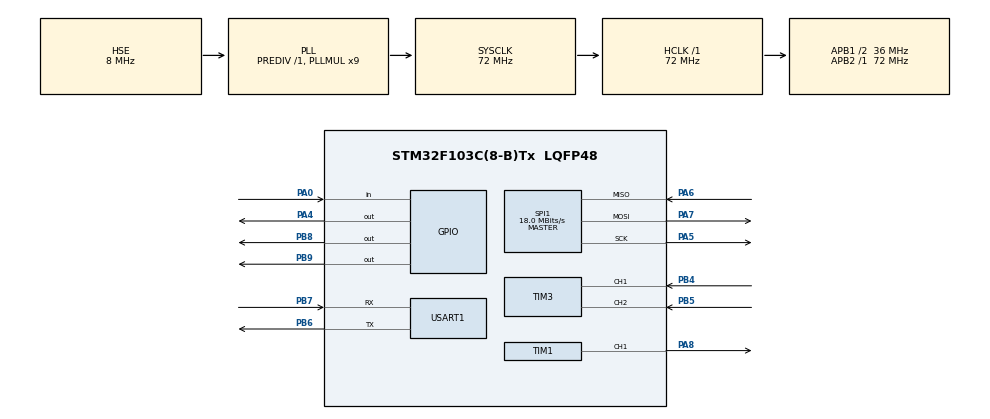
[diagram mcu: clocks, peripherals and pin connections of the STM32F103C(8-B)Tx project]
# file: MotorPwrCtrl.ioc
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Dma.Request0=USART1_RX
Dma.USART1_RX.0.Direction=DMA_PERIPH_TO_MEMORY
Dma.USART1_RX.0.Instance=DMA1_Channel5
Dma.USART1_RX.0.MemDataAlignment=DMA_MDATAALIGN_BYTE
Dma.USART1_RX.0.MemInc=DMA_MINC_ENABLE
Dma.USART1_RX.0.Mode=DMA_CIRCULAR
Dma.USART1_RX.0.PeriphDataAlignment=DMA_PDATAALIGN_BYTE
Dma.USART1_RX.0.PeriphInc=DMA_PINC_DISABLE
Dma.USART1_RX.0.Priority=DMA_PRIORITY_LOW
Mcu.Family=STM32F1
Mcu.Name=STM32F103C(8-B)Tx
Mcu.Package=LQFP48
NVIC.DMA1_Channel5_IRQn=true\:5\:0\:true\:false\:true\:false\:true\:true
NVIC.PriorityGroup=NVIC_PRIORITYGROUP_4
NVIC.USART1_IRQn=true\:5\:0\:true\:false\:true\:true\:true\:true
PA0-WKUP.GPIO_PuPd=GPIO_PULLUP
PA0-WKUP.Signal=GPIO_Input
PA13.Mode=Serial_Wire
PA13.Signal=SYS_JTMS-SWDIO
PA14.Mode=Serial_Wire
PA14.Signal=SYS_JTCK-SWCLK
PA4.Signal=GPIO_Output
PA5.Mode=Full_Duplex_Master
PA5.Signal=SPI1_SCK
PA6.Mode=Full_Duplex_Master
PA6.Signal=SPI1_MISO
PA7.Mode=Full_Duplex_Master
PA7.Signal=SPI1_MOSI
PA8.Signal=S_TIM1_CH1
PB4.Signal=S_TIM3_CH1
PB5.Signal=S_TIM3_CH2
PB6.Mode=Asynchronous
PB6.Signal=USART1_TX
PB7.Mode=Asynchronous
PB7.Signal=USART1_RX
PB8.GPIO_ModeDefaultOutputPP=GPIO_MODE_OUTPUT_OD
PB8.GPIO_PuPd=GPIO_PULLUP
PB8.Signal=GPIO_Output
PB9.GPIO_ModeDefaultOutputPP=GPIO_MODE_OUTPUT_OD
PB9.GPIO_PuPd=GPIO_PULLUP
PB9.Signal=GPIO_Output
PD0-OSC_IN.Mode=HSE-External-Oscillator
PD0-OSC_IN.Signal=RCC_OSC_IN
PD1-OSC_OUT.Mode=HSE-External-Oscillator
PD1-OSC_OUT.Signal=RCC_OSC_OUT
ProjectManager.HeapSize=0x200
ProjectManager.StackSize=0x400
ProjectManager.TargetToolchain=MDK-ARM V5.32
RCC.AHBFreq_Value=72000000
RCC.APB1CLKDivider=RCC_HCLK_DIV2
RCC.APB1Freq_Value=36000000
RCC.APB1TimFreq_Value=72000000
RCC.APB2Freq_Value=72000000
RCC.APB2TimFreq_Value=72000000
RCC.HCLKFreq_Value=72000000
RCC.PLLMUL=RCC_PLL_MUL9
RCC.PLLSourceVirtual=RCC_PLLSOURCE_HSE
RCC.SYSCLKFreq_VALUE=72000000
RCC.SYSCLKSource=RCC_SYSCLKSOURCE_PLLCLK
RCC.USBFreq_Value=72000000
SH.S_TIM1_CH1.0=TIM1_CH1,PWM Generation1 CH1
SH.S_TIM3_CH1.0=TIM3_CH1,Encoder_Interface
SH.S_TIM3_CH2.0=TIM3_CH2,Encoder_Interface
SPI1.BaudRatePrescaler=SPI_BAUDRATEPRESCALER_4
SPI1.CalculateBaudRate=18.0 MBits/s
SPI1.Direction=SPI_DIRECTION_2LINES
SPI1.Mode=SPI_MODE_MASTER
SPI1.VirtualType=VM_MASTER
TIM1.Channel-PWM\ Generation1\ CH1=TIM_CHANNEL_1
TIM1.Period=3599
TIM1.TIM_MasterSlaveMode=TIM_MASTERSLAVEMODE_DISABLE
TIM3.EncoderMode=TIM_ENCODERMODE_TI12
USART1.VirtualMode=VM_ASYNC
VP_TIM1_VS_ClockSourceINT.Mode=Internal
board=custom

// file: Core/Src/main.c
/* USER CODE BEGIN Header */
/**
  ******************************************************************************
  * @file           : main.c
  * @brief          : Main program body
  ******************************************************************************
  * @attention
  *
  * Copyright (c) 2026 STMicroelectronics.
  * All rights reserved.
  *
  * This software is licensed under terms that can be found in the LICENSE file
  * in the root directory of this software component.
  * If no LICENSE file comes with this software, it is provided AS-IS.
  *
  ******************************************************************************
  */
/* USER CODE END Header */
#include "main.h"

/* USER CODE BEGIN Includes */
#include "FreeRTOS.h"
#include "task.h"
#include "queue.h"
#include "semphr.h"

#include "INA226.h"
#include "w25q64.h"

#include "soft_i2c.h"

#include <stdarg.h>
#include <stdio.h>
#include <string.h>
#include <stdlib.h>

/* USER CODE END Includes */

/* USER CODE BEGIN PD */
/* ------TASK PD ----------*/
#define START_TASK_PRIO  0
#define START_STK_SIZE   128

#define MOTOR_TASK_PRIO  3
#define MOTOR_STK_SIZE   256

#define TX_TASK_PRIO  2
#define TX_STK_SIZE   256

#define INA226_TASK_PRIO  2
#define INA226_STK_SIZE   128

#define RX_TASK_PRIO  2
#define RX_STK_SIZE   128

#define FLASH_TASK_PRIO  2
#define FLASH_STK_SIZE   128

#define BUTTON_TASK_PRIO  3
#define BUTTON_STK_SIZE   128

#define PPR 11.0
#define COUNTS_PER_REV  PPR*4.0

#define MAX_VOLTAGE 13.0
#define MAX_CURRENT 1.5

#define PWM_MAX 3599.0f
#define PWM_MIN 0.0f

#define I_MAX 100.0f

#define ADDR_PARAMS  0x000000   // params at sector 0
#define ADDR_FAULT   0x001000   // fault at sector 1

/* USER CODE END PD */

SPI_HandleTypeDef hspi1;

TIM_HandleTypeDef htim1;
TIM_HandleTypeDef htim3;

UART_HandleTypeDef huart1;
DMA_HandleTypeDef hdma_usart1_rx;

/* USER CODE BEGIN PV */
/* TASK Variables ------------------------------------------------------------*/
TaskHandle_t StartTask_Handler;
TaskHandle_t MotorTask_Handler;
TaskHandle_t TxTask_Handler;
TaskHandle_t INA226Task_Handler;
TaskHandle_t RxTask_Handler;
TaskHandle_t FlashTask_Handler;
TaskHandle_t ButtonTask_Handler;

SemaphoreHandle_t BinarySemaphore;

typedef enum { STOP=0, RUN=1, FAULT=2 } MotorState_t;

QueueHandle_t g_UserSpeedQueue;
QueueHandle_t g_INA226Queue;
QueueHandle_t g_FlashQueue;
QueueHandle_t g_StateParQueue;
QueueHandle_t g_FaultQueue;

typedef struct { float voltage; float current; } InaData_t;//v i
typedef struct { float speed; float target; float kp; float ki; float kd; float voltage; float current; float mv; float mc; MotorState_t state; float duty; } Telemetry_t; //state2user
typedef struct { float speed; MotorState_t state; float duty; } FlashData_t;
typedef struct {  MotorState_t state; } FaultState_t; //state2user
typedef struct {
    float Kp;          // proportional gain
    float Ki;          // integral gain
    float Kd;          // derivative gain
    float integral;    // accumulated error (for I term)
    float prev_measured;  // last measured value (for D term)
} PID_t;

typedef union {
    float    f;
    uint8_t  b[4];
} FloatBytes_t;

// serial command: speed target or PID gain
typedef enum { CMD_SPEED, CMD_KP, CMD_KI, CMD_KD, CMD_MV, CMD_MC } CmdType_t;
typedef struct { CmdType_t type; float value; } Cmd_t;

uint8_t  rx_buf[64];            // DMA writes received bytes here
volatile uint16_t rx_len = 0;   // bytes in the latest frame

/* USER CODE END PV */

void SystemClock_Config(void);
static void MX_GPIO_Init(void);
static void MX_DMA_Init(void);
static void MX_SPI1_Init(void);
static void MX_TIM1_Init(void);
static void MX_TIM3_Init(void);
static void MX_USART1_UART_Init(void);
/* USER CODE BEGIN PFP */
/* Task function prototypes --------------------------------------------------*/
void start_task(void *pvParameters);
void motor_task(void *pvParameters);
void tx_task(void *pvParameters);
void ina226_task(void *pvParameters);
void rx_task(void *pvParameters);
void flash_task(void *pvParameters);
void button_task(void *pvParameters);

// Compute control output (duty) from target and measured speed.
float pid_update(PID_t *pid, float target, float measured, float dt);
/* USER CODE END PFP */

/* USER CODE BEGIN 0 */
float pid_update(PID_t *pid, float target, float measured, float dt)
{
    float error = target - measured;

    // I term: accumulate error, then anti-windup clamp
    pid->integral += error * dt;
    if (pid->integral > I_MAX)  pid->integral = I_MAX;
    if (pid->integral < -I_MAX) pid->integral = -I_MAX;

    // D term: derivative on measurement (avoids derivative kick on setpoint change)
    float derivative = -(measured - pid->prev_measured) / dt;

    // P + I + D
    float output = pid->Kp * error + pid->Ki * pid->integral + pid->Kd * derivative;
    pid->prev_measured = measured;   // update AFTER using the old value

    // clamp output to [0, 3599]
    if (output > PWM_MAX) output = PWM_MAX;
    if (output < PWM_MIN) output = PWM_MIN;
    return output;
}

void start_task(void *pvParameters)
{
    taskENTER_CRITICAL();

    // create queues
    g_UserSpeedQueue = xQueueCreate(4, sizeof(Cmd_t));
    g_INA226Queue    = xQueueCreate(2, sizeof(InaData_t));
    g_FlashQueue     = xQueueCreate(2, sizeof(FlashData_t));
    g_StateParQueue  = xQueueCreate(2, sizeof(Telemetry_t));
    g_FaultQueue     = xQueueCreate(2, sizeof(FaultState_t));

    BinarySemaphore = xSemaphoreCreateBinary();

    // create tasks
    xTaskCreate(motor_task,  "motor_task",  MOTOR_STK_SIZE,  NULL, MOTOR_TASK_PRIO,  &MotorTask_Handler);
    xTaskCreate(button_task, "button_task", BUTTON_STK_SIZE, NULL, BUTTON_TASK_PRIO, &ButtonTask_Handler);
    xTaskCreate(tx_task,     "tx_task",     TX_STK_SIZE,     NULL, TX_TASK_PRIO,     &TxTask_Handler);
    xTaskCreate(ina226_task, "ina226_task", INA226_STK_SIZE, NULL, INA226_TASK_PRIO, &INA226Task_Handler);
    xTaskCreate(rx_task,     "rx_task",     RX_STK_SIZE,     NULL, RX_TASK_PRIO,     &RxTask_Handler);
    xTaskCreate(flash_task,  "flash_task",  FLASH_STK_SIZE,  NULL, FLASH_TASK_PRIO,  &FlashTask_Handler);

    taskEXIT_CRITICAL();
    vTaskDelete(NULL);
}

static void UART_Printf(const char *format,...)
{
	char tmp[128];
	va_list argptr;
	va_start(argptr,format);
	vsnprintf(tmp, sizeof(tmp), format, argptr);   // safe: never overflow
	va_end(argptr);
	HAL_UART_Transmit(&huart1,(const uint8_t *)&tmp,strlen(tmp),HAL_MAX_DELAY);
}

void HAL_UARTEx_RxEventCallback(UART_HandleTypeDef *huart, uint16_t Size)
{
    if (huart == &huart1)
    {
        rx_len = Size;                                     // remember how many bytes
        BaseType_t xHigherPriorityTaskWoken = pdFALSE;
        vTaskNotifyGiveFromISR(RxTask_Handler, &xHigherPriorityTaskWoken);  // notify rx_task
        portYIELD_FROM_ISR(xHigherPriorityTaskWoken);
    }
}

void motor_task(void *pvParameters)
{
    // State machine: STOP -> RUN -> FAULT -> STOP

    TickType_t lastWakeTime = xTaskGetTickCount();  // for precise 100 Hz

    MotorState_t state = STOP;
    float TargetRPM = 0.0f, duty = 0.0f;
    float max_voltage = MAX_VOLTAGE;   // fault threshold, runtime adjustable
    float max_current = MAX_CURRENT;   // fault threshold, runtime adjustable

    HAL_TIM_Encoder_Start(&htim3, TIM_CHANNEL_ALL);
    HAL_TIM_PWM_Start(&htim1, TIM_CHANNEL_1);
    __HAL_TIM_MOE_ENABLE(&htim1);

    uint16_t pre_count = __HAL_TIM_GET_COUNTER(&htim3);
    uint16_t fault_flag = 0;
    uint16_t telemetry_cnt = 0;   // throttle telemetry to ~10 Hz
    InaData_t lastIna = {0};   // latest INA226 reading, for telemetry
    PID_t pid = {0};
    pid.Kp = 2.0f, pid.Ki = 5.0f, pid.Kd = 0.0f;

    for (;;)
    {
        vTaskDelayUntil(&lastWakeTime, pdMS_TO_TICKS(10));  // 100 Hz control loop
        BaseType_t val = pdFALSE;

        FlashData_t FlashData;
        InaData_t INA226Data;
        Telemetry_t StateParData;
        FaultState_t FaultData;

        uint16_t cur_count = __HAL_TIM_GET_COUNTER(&htim3);
        int32_t delta = (int32_t)(int16_t)(cur_count - pre_count);
        pre_count = cur_count;
        float CurRPM = (float)delta * 60.0f / (COUNTS_PER_REV * 0.01f);

        // receive command from rx_task (non-blocking): speed target or PID gain
        Cmd_t cmd;
        if (xQueueReceive(g_UserSpeedQueue, &cmd, 0) == pdTRUE)
        {
            switch (cmd.type)
            {
            case CMD_SPEED:
                if (cmd.value >= 0.0f && cmd.value <= 2000.0f)   // safety: reject invalid targets
                {
                    TargetRPM = cmd.value;
                }
                break;
            case CMD_KP:  pid.Kp = cmd.value; break;
            case CMD_KI:  pid.Ki = cmd.value; break;
            case CMD_KD:  pid.Kd = cmd.value; break;
            case CMD_MV:  max_voltage = cmd.value; break;
            case CMD_MC:  max_current = cmd.value; break;
            }
        }

        switch (state)
        {
        case STOP:
            // force motor stop
            duty = 0;
            __HAL_TIM_SET_COMPARE(&htim1, TIM_CHANNEL_1, 0);

            // receive restored default speed from flash_task
            if (xQueueReceive(g_FlashQueue, &FlashData, 0) == pdTRUE)
            {
                TargetRPM = FlashData.speed;
            }
            // receive button semaphore -> if pressed, state = RUN
            if (BinarySemaphore != NULL)
            {
                val = xSemaphoreTake(BinarySemaphore, 0);
                if (val == pdTRUE)
                {
                    state = RUN;
                }
            }
            break;

        case RUN:
            // receive voltage/current from ina226_task -> fault check
            if (xQueueReceive(g_INA226Queue, &INA226Data, 0) == pdTRUE)
            {
                lastIna = INA226Data;   // remember for telemetry
                float v = INA226Data.voltage;
                float i = INA226Data.current;
                if ((v > max_voltage) || (i > max_current))
                {
                    duty = 0;
                    __HAL_TIM_SET_COMPARE(&htim1, TIM_CHANNEL_1, duty);
                    state = FAULT;
                }
            }

            // over-speed safety: stop if too fast (no over-current protection yet)
            if (CurRPM > 2000.0f)
            {
                duty = 0;
                __HAL_TIM_SET_COMPARE(&htim1, TIM_CHANNEL_1, duty);
                state = STOP;
            }
            else
            {
                // PID(target, actual) -> update PWM duty
                duty = pid_update(&pid, TargetRPM, CurRPM, 0.01f);
                __HAL_TIM_SET_COMPARE(&htim1, TIM_CHANNEL_1, duty);
            }

            // receive button semaphore -> if pressed, state = STOP
            if (BinarySemaphore != NULL)
            {
                val = xSemaphoreTake(BinarySemaphore, 0);
                if (val == pdTRUE)
                {
                    state = STOP;
                }
            }
            break;

        case FAULT:
            // record the fault, then force motor stop
            FaultData.state = FAULT;
            duty = 0;
            __HAL_TIM_SET_COMPARE(&htim1, TIM_CHANNEL_1, 0);

            // send fault record to flash_task (only once)
            if (fault_flag == 0)
            {
                xQueueSend(g_FaultQueue, &FaultData, 0);
                fault_flag++;
            }

            // receive button semaphore -> if pressed, state = STOP
            if (BinarySemaphore != NULL)
            {
                val = xSemaphoreTake(BinarySemaphore, 0);
                if (val == pdTRUE)
                {
                    state = STOP;
                }
            }
            break;
        }

        // send telemetry every 10 cycles (10 Hz, readable while tuning)
        telemetry_cnt++;
        if (telemetry_cnt >= 50)
        {
            telemetry_cnt = 0;
            StateParData.speed = CurRPM;
            StateParData.target = TargetRPM;
            StateParData.kp = pid.Kp;
            StateParData.ki = pid.Ki;
            StateParData.kd = pid.Kd;
            StateParData.voltage = lastIna.voltage;
            StateParData.current = lastIna.current;
            StateParData.mv = max_voltage;
            StateParData.mc = max_current;
            StateParData.state = state;
            StateParData.duty = duty;
            xQueueSend(g_StateParQueue, &StateParData, 0);
        }
    }
}

void tx_task(void *pvParameters)
{
    for (;;)
    {
        Telemetry_t StatePar = {0};
        if (xQueueReceive(g_StateParQueue, &StatePar, pdMS_TO_TICKS(20)) == pdTRUE)
        {
            const char *state = "NULL";
            if (StatePar.state == STOP)
            {
                state = "STOP";
            }
            else if (StatePar.state == RUN)
            {
                state = "RUN";
            }
            else if (StatePar.state == FAULT)
            {
                state = "FAULT";
            }

            UART_Printf("duty=%.1f speed=%.1f target=%.1f kp=%.1f ki=%.1f kd=%.3f v=%.2f i=%.3f mv=%.1f mc=%.2f state=%s\r\n",
                        StatePar.duty, StatePar.speed, StatePar.target, StatePar.kp, StatePar.ki, StatePar.kd,
                        StatePar.voltage, StatePar.current, StatePar.mv, StatePar.mc, state);
        }
    }
}

void ina226_task(void *pvParameters)
{
    InaData_t data = {0};

    Soft_I2C_Init();
    INA226_Init();

    // debug: read manufacturer ID to verify the chip responds (expect 0x5449)
    uint16_t id = INA226_ReadReg(INA226_REG_MFG_ID);
    UART_Printf("INA226 ID=0x%04X\r\n", id);

    for (;;)
    {
        data.voltage = INA226_ReadBusVoltage();
        data.current = INA226_ReadCurrent();

        xQueueSend(g_INA226Queue, &data, 0);   // hand to motor_task for fault check

        vTaskDelay(pdMS_TO_TICKS(100));        // sample every 100 ms
    }
}

void rx_task(void *pvParameters)
{
    HAL_UARTEx_ReceiveToIdle_DMA(&huart1, rx_buf, sizeof(rx_buf));   // start reception

    for (;;)
    {
        ulTaskNotifyTake(pdTRUE, portMAX_DELAY);   // block until a frame arrives

        if (rx_len < sizeof(rx_buf)) {
            rx_buf[rx_len] = '\0';                 // null-terminate the frame
        }
        Cmd_t cmd;
        if      (rx_buf[0] == 'k' && rx_buf[1] == '=') { cmd.type = CMD_KP;    cmd.value = (float)atof((char *)&rx_buf[2]); }
        else if (rx_buf[0] == 'i' && rx_buf[1] == '=') { cmd.type = CMD_KI;    cmd.value = (float)atof((char *)&rx_buf[2]); }
        else if (rx_buf[0] == 'd' && rx_buf[1] == '=')                     { cmd.type = CMD_KD;    cmd.value = (float)atof((char *)&rx_buf[2]); }
        else if (rx_buf[0] == 'm' && rx_buf[1] == 'v' && rx_buf[2] == '=') { cmd.type = CMD_MV;    cmd.value = (float)atof((char *)&rx_buf[3]); }
        else if (rx_buf[0] == 'm' && rx_buf[1] == 'c' && rx_buf[2] == '=') { cmd.type = CMD_MC;    cmd.value = (float)atof((char *)&rx_buf[3]); }
        else                                                                { cmd.type = CMD_SPEED; cmd.value = (float)atof((char *)rx_buf); }

        xQueueSend(g_UserSpeedQueue, &cmd, 0);

        memset(rx_buf, 0, sizeof(rx_buf));   // clear before re-arming
        HAL_UARTEx_ReceiveToIdle_DMA(&huart1, rx_buf, sizeof(rx_buf));  // restart for next frame
    }
}

void flash_task(void *pvParameters)
{
    W25Q64_Init();   // configure CS pin

    // debug: read manufacturer ID to verify the chip responds (expect 0xEF4017)
    uint32_t id = W25Q64_ReadID();
    UART_Printf("W25Q64 ID=0x%08lX\r\n", id);

    // on boot: load saved params, validate before sending
    FlashData_t params = {0};
    W25Q64_ReadData(ADDR_PARAMS, (uint8_t *)&params, sizeof(params));
    if (params.speed >= 0.0f && params.speed < 10000.0f)   // sane range
    {
        xQueueSend(g_FlashQueue, &params, 0);
    }

    for (;;)
    {
        FaultState_t fault;
        if (xQueueReceive(g_FaultQueue, &fault, portMAX_DELAY) == pdTRUE)
        {
            W25Q64_WriteData(ADDR_FAULT, (uint8_t *)&fault, sizeof(fault));
        }
    }
}

void button_task(void *pvParameters)
{
    for (;;)
    {
        // button is pressed (active low)
        if (HAL_GPIO_ReadPin(GPIOA, GPIO_PIN_0) == GPIO_PIN_RESET)
        {
            // pressed edge: debounce
            vTaskDelay(pdMS_TO_TICKS(20));
            if (HAL_GPIO_ReadPin(GPIOA, GPIO_PIN_0) == GPIO_PIN_RESET)
            {
                xSemaphoreGive(BinarySemaphore);

                // wait for release, so holding does not retrigger
                while (HAL_GPIO_ReadPin(GPIOA, GPIO_PIN_0) == GPIO_PIN_RESET)
                {
                    vTaskDelay(pdMS_TO_TICKS(10));
                }
                // release edge: debounce
                vTaskDelay(pdMS_TO_TICKS(20));
            }
        }

        vTaskDelay(pdMS_TO_TICKS(10));   // poll every 10 ms
    }
}

/* USER CODE END 0 */

int main(void)
{

  /* MCU Configuration--------------------------------------------------------*/

  /* Reset of all peripherals, Initializes the Flash interface and the Systick. */
  HAL_Init();

  /* Configure the system clock */
  SystemClock_Config();

  /* Initialize all configured peripherals */
  MX_GPIO_Init();
  MX_DMA_Init();
  MX_SPI1_Init();
  MX_TIM1_Init();
  MX_TIM3_Init();
  MX_USART1_UART_Init();
  /* USER CODE BEGIN 2 */
	// create start task
	xTaskCreate(start_task,"start_task",START_STK_SIZE,NULL,START_TASK_PRIO,&StartTask_Handler);
	vTaskStartScheduler();

  /* USER CODE END 2 */

  /* Infinite loop */
  while (1)
  {

  }
}

void SystemClock_Config(void)
{
  RCC_OscInitTypeDef RCC_OscInitStruct = {0};
  RCC_ClkInitTypeDef RCC_ClkInitStruct = {0};

  /** Initializes the RCC Oscillators according to the specified parameters
  * in the RCC_OscInitTypeDef structure.
  */
  RCC_OscInitStruct.OscillatorType = RCC_OSCILLATORTYPE_HSE;
  RCC_OscInitStruct.HSEState = RCC_HSE_ON;
  RCC_OscInitStruct.HSEPredivValue = RCC_HSE_PREDIV_DIV1;
  RCC_OscInitStruct.HSIState = RCC_HSI_ON;
  RCC_OscInitStruct.PLL.PLLState = RCC_PLL_ON;
  RCC_OscInitStruct.PLL.PLLSource = RCC_PLLSOURCE_HSE;
  RCC_OscInitStruct.PLL.PLLMUL = RCC_PLL_MUL9;
  if (HAL_RCC_OscConfig(&RCC_OscInitStruct) != HAL_OK)
  {
    Error_Handler();
  }

  /** Initializes the CPU, AHB and APB buses clocks
  */
  RCC_ClkInitStruct.ClockType = RCC_CLOCKTYPE_HCLK|RCC_CLOCKTYPE_SYSCLK
                              |RCC_CLOCKTYPE_PCLK1|RCC_CLOCKTYPE_PCLK2;
  RCC_ClkInitStruct.SYSCLKSource = RCC_SYSCLKSOURCE_PLLCLK;
  RCC_ClkInitStruct.AHBCLKDivider = RCC_SYSCLK_DIV1;
  RCC_ClkInitStruct.APB1CLKDivider = RCC_HCLK_DIV2;
  RCC_ClkInitStruct.APB2CLKDivider = RCC_HCLK_DIV1;

  if (HAL_RCC_ClockConfig(&RCC_ClkInitStruct, FLASH_LATENCY_2) != HAL_OK)
  {
    Error_Handler();
  }
}

static void MX_SPI1_Init(void)
{

  /* SPI1 parameter configuration*/
  hspi1.Instance = SPI1;
  hspi1.Init.Mode = SPI_MODE_MASTER;
  hspi1.Init.Direction = SPI_DIRECTION_2LINES;
  hspi1.Init.DataSize = SPI_DATASIZE_8BIT;
  hspi1.Init.CLKPolarity = SPI_POLARITY_HIGH;
  hspi1.Init.CLKPhase = SPI_PHASE_2EDGE;
  hspi1.Init.NSS = SPI_NSS_SOFT;
  hspi1.Init.BaudRatePrescaler = SPI_BAUDRATEPRESCALER_128;
  hspi1.Init.FirstBit = SPI_FIRSTBIT_MSB;
  hspi1.Init.TIMode = SPI_TIMODE_DISABLE;
  hspi1.Init.CRCCalculation = SPI_CRCCALCULATION_DISABLE;
  hspi1.Init.CRCPolynomial = 10;
  if (HAL_SPI_Init(&hspi1) != HAL_OK)
  {
    Error_Handler();
  }

}

static void MX_TIM1_Init(void)
{

  TIM_ClockConfigTypeDef sClockSourceConfig = {0};
  TIM_MasterConfigTypeDef sMasterConfig = {0};
  TIM_OC_InitTypeDef sConfigOC = {0};
  TIM_BreakDeadTimeConfigTypeDef sBreakDeadTimeConfig = {0};

  htim1.Instance = TIM1;
  htim1.Init.Prescaler = 0;
  htim1.Init.CounterMode = TIM_COUNTERMODE_UP;
  htim1.Init.Period = 3599;
  htim1.Init.ClockDivision = TIM_CLOCKDIVISION_DIV1;
  htim1.Init.RepetitionCounter = 0;
  htim1.Init.AutoReloadPreload = TIM_AUTORELOAD_PRELOAD_DISABLE;
  if (HAL_TIM_Base_Init(&htim1) != HAL_OK)
  {
    Error_Handler();
  }
  sClockSourceConfig.ClockSource = TIM_CLOCKSOURCE_INTERNAL;
  if (HAL_TIM_ConfigClockSource(&htim1, &sClockSourceConfig) != HAL_OK)
  {
    Error_Handler();
  }
  if (HAL_TIM_PWM_Init(&htim1) != HAL_OK)
  {
    Error_Handler();
  }
  sMasterConfig.MasterOutputTrigger = TIM_TRGO_RESET;
  sMasterConfig.MasterSlaveMode = TIM_MASTERSLAVEMODE_DISABLE;
  if (HAL_TIMEx_MasterConfigSynchronization(&htim1, &sMasterConfig) != HAL_OK)
  {
    Error_Handler();
  }
  sConfigOC.OCMode = TIM_OCMODE_PWM1;
  sConfigOC.Pulse = 0;
  sConfigOC.OCPolarity = TIM_OCPOLARITY_HIGH;
  sConfigOC.OCNPolarity = TIM_OCNPOLARITY_HIGH;
  sConfigOC.OCFastMode = TIM_OCFAST_DISABLE;
  sConfigOC.OCIdleState = TIM_OCIDLESTATE_RESET;
  sConfigOC.OCNIdleState = TIM_OCNIDLESTATE_RESET;
  if (HAL_TIM_PWM_ConfigChannel(&htim1, &sConfigOC, TIM_CHANNEL_1) != HAL_OK)
  {
    Error_Handler();
  }
  sBreakDeadTimeConfig.OffStateRunMode = TIM_OSSR_DISABLE;
  sBreakDeadTimeConfig.OffStateIDLEMode = TIM_OSSI_DISABLE;
  sBreakDeadTimeConfig.LockLevel = TIM_LOCKLEVEL_OFF;
  sBreakDeadTimeConfig.DeadTime = 0;
  sBreakDeadTimeConfig.BreakState = TIM_BREAK_DISABLE;
  sBreakDeadTimeConfig.BreakPolarity = TIM_BREAKPOLARITY_HIGH;
  sBreakDeadTimeConfig.AutomaticOutput = TIM_AUTOMATICOUTPUT_DISABLE;
  if (HAL_TIMEx_ConfigBreakDeadTime(&htim1, &sBreakDeadTimeConfig) != HAL_OK)
  {
    Error_Handler();
  }
  HAL_TIM_MspPostInit(&htim1);

}

static void MX_TIM3_Init(void)
{

  TIM_Encoder_InitTypeDef sConfig = {0};
  TIM_MasterConfigTypeDef sMasterConfig = {0};

  htim3.Instance = TIM3;
  htim3.Init.Prescaler = 0;
  htim3.Init.CounterMode = TIM_COUNTERMODE_UP;
  htim3.Init.Period = 65535;
  htim3.Init.ClockDivision = TIM_CLOCKDIVISION_DIV1;
  htim3.Init.AutoReloadPreload = TIM_AUTORELOAD_PRELOAD_DISABLE;
  sConfig.EncoderMode = TIM_ENCODERMODE_TI12;
  sConfig.IC1Polarity = TIM_ICPOLARITY_RISING;
  sConfig.IC1Selection = TIM_ICSELECTION_DIRECTTI;
  sConfig.IC1Prescaler = TIM_ICPSC_DIV1;
  sConfig.IC1Filter = 0;
  sConfig.IC2Polarity = TIM_ICPOLARITY_RISING;
  sConfig.IC2Selection = TIM_ICSELECTION_DIRECTTI;
  sConfig.IC2Prescaler = TIM_ICPSC_DIV1;
  sConfig.IC2Filter = 0;
  if (HAL_TIM_Encoder_Init(&htim3, &sConfig) != HAL_OK)
  {
    Error_Handler();
  }
  sMasterConfig.MasterOutputTrigger = TIM_TRGO_RESET;
  sMasterConfig.MasterSlaveMode = TIM_MASTERSLAVEMODE_DISABLE;
  if (HAL_TIMEx_MasterConfigSynchronization(&htim3, &sMasterConfig) != HAL_OK)
  {
    Error_Handler();
  }

}

static void MX_USART1_UART_Init(void)
{

  huart1.Instance = USART1;
  huart1.Init.BaudRate = 115200;
  huart1.Init.WordLength = UART_WORDLENGTH_8B;
  huart1.Init.StopBits = UART_STOPBITS_1;
  huart1.Init.Parity = UART_PARITY_NONE;
  huart1.Init.Mode = UART_MODE_TX_RX;
  huart1.Init.HwFlowCtl = UART_HWCONTROL_NONE;
  huart1.Init.OverSampling = UART_OVERSAMPLING_16;
  if (HAL_UART_Init(&huart1) != HAL_OK)
  {
    Error_Handler();
  }

}

static void MX_DMA_Init(void)
{

  /* DMA controller clock enable */
  __HAL_RCC_DMA1_CLK_ENABLE();

  /* DMA interrupt init */
  /* DMA1_Channel5_IRQn interrupt configuration */
  HAL_NVIC_SetPriority(DMA1_Channel5_IRQn, 5, 0);
  HAL_NVIC_EnableIRQ(DMA1_Channel5_IRQn);

}

static void MX_GPIO_Init(void)
{
  GPIO_InitTypeDef GPIO_InitStruct = {0};

  /* GPIO Ports Clock Enable */
  __HAL_RCC_GPIOD_CLK_ENABLE();
  __HAL_RCC_GPIOA_CLK_ENABLE();
  __HAL_RCC_GPIOB_CLK_ENABLE();

  /*Configure GPIO pin Output Level */
  HAL_GPIO_WritePin(GPIOA, GPIO_PIN_4, GPIO_PIN_RESET);

  /*Configure GPIO pin Output Level */
  HAL_GPIO_WritePin(GPIOB, GPIO_PIN_8|GPIO_PIN_9, GPIO_PIN_RESET);

  /*Configure GPIO pin : PA0 */
  GPIO_InitStruct.Pin = GPIO_PIN_0;
  GPIO_InitStruct.Mode = GPIO_MODE_INPUT;
  GPIO_InitStruct.Pull = GPIO_PULLUP;
  HAL_GPIO_Init(GPIOA, &GPIO_InitStruct);

  /*Configure GPIO pin : PA4 */
  GPIO_InitStruct.Pin = GPIO_PIN_4;
  GPIO_InitStruct.Mode = GPIO_MODE_OUTPUT_PP;
  GPIO_InitStruct.Pull = GPIO_NOPULL;
  GPIO_InitStruct.Speed = GPIO_SPEED_FREQ_LOW;
  HAL_GPIO_Init(GPIOA, &GPIO_InitStruct);

  /*Configure GPIO pins : PB8 PB9 */
  GPIO_InitStruct.Pin = GPIO_PIN_8|GPIO_PIN_9;
  GPIO_InitStruct.Mode = GPIO_MODE_OUTPUT_OD;
  GPIO_InitStruct.Pull = GPIO_PULLUP;
  GPIO_InitStruct.Speed = GPIO_SPEED_FREQ_LOW;
  HAL_GPIO_Init(GPIOB, &GPIO_InitStruct);

}

void Error_Handler(void)
{
  __disable_irq();
  while (1)
  {
  }
}
